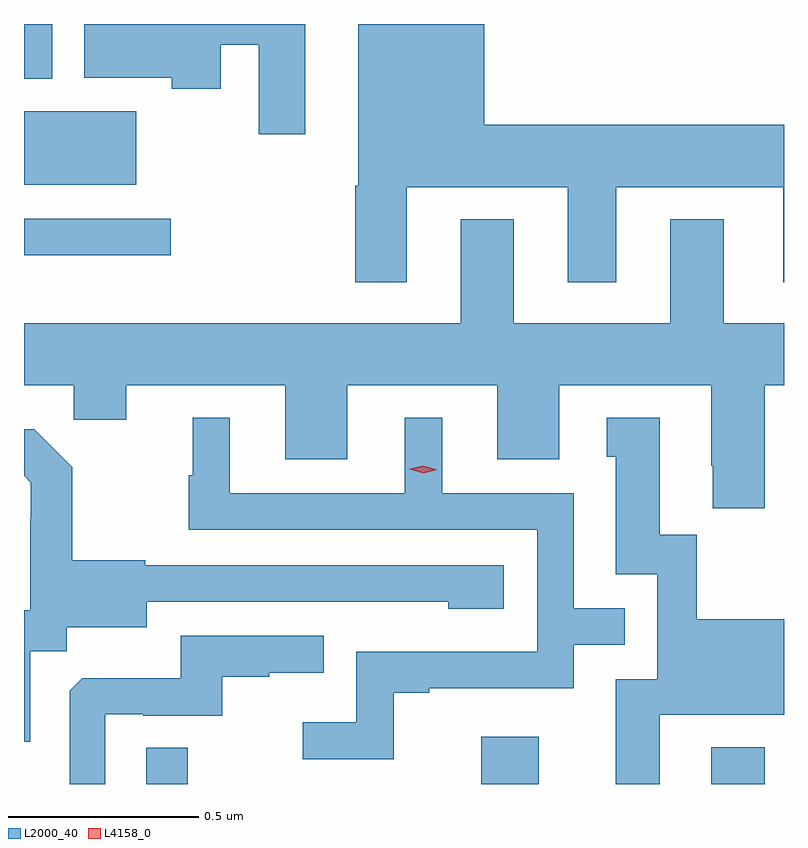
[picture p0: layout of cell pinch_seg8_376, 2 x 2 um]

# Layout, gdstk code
import gdstk
lib = gdstk.Library(unit=1e-6, precision=1e-09)
def R(c, l, rs):  # rectangles x0, y0, x1, y1
    for r in rs: c.add(gdstk.rectangle(r[:2], r[2:], *l))
def P(c, l, *ps):  # polygons
    for p in ps: c.add(gdstk.Polygon(p, *l))
L2000_40 = (2000, 40)
L4158_0 = (4158, 0)

pinch_seg8_376 = lib.new_cell('pinch_seg8_376')
R(pinch_seg8_376, L2000_40, [(388.842,1115.451,388.951,1115.546), (389.723,1115.451,389.875,1115.575), (390.329,1115.451,390.469,1115.548), (388.52,1116.842,388.906,1116.939), (388.52,1117.307,388.594,1117.451)])
P(pinch_seg8_376, L2000_40, [(389.26,1117.451),(388.679,1117.451),(388.679,1117.31),(388.909,1117.31),(388.909,1117.28),(389.038,1117.28),(389.038,1117.397),(389.138,1117.397),(389.138,1117.161),(389.26,1117.161)],
  [(389.527,1117.022),(389.951,1117.022),(389.951,1116.771),(390.079,1116.771),(390.079,1117.022),(390.518,1117.022),(390.518,1116.771),(390.52,1116.771),(390.52,1117.186),(389.731,1117.186),(389.731,1117.451),(389.399,1117.451),(389.399,1117.026),(389.392,1117.026),(389.392,1116.771),(389.527,1116.771)],
  [(388.816,1117.222),(388.59,1117.222),(388.59,1117.221),(388.52,1117.221),(388.52,1117.028),(388.816,1117.028)],
  [(390.469,1116.5),(390.52,1116.5),(390.52,1116.664),(390.361,1116.664),(390.361,1116.937),(390.221,1116.937),(390.221,1116.664),(389.809,1116.664),(389.809,1116.937),(389.669,1116.937),(389.669,1116.664),(388.52,1116.664),(388.52,1116.5),(388.651,1116.5),(388.651,1116.41),(388.789,1116.41),(388.789,1116.5),(389.207,1116.5),(389.207,1116.306),(389.371,1116.306),(389.371,1116.5),(389.765,1116.5),(389.765,1116.306),(389.929,1116.306),(389.929,1116.5),(390.329,1116.5),(390.329,1116.289),(390.332,1116.289),(390.332,1116.177),(390.469,1116.177)],
  [(389.493,1115.691),(389.587,1115.691),(389.587,1115.703),(389.967,1115.703),(389.967,1115.817),(390.101,1115.817),(390.101,1115.913),(389.967,1115.913),(389.967,1116.216),(389.62,1116.216),(389.62,1116.415),(389.522,1116.415),(389.522,1116.216),(389.062,1116.216),(389.062,1116.415),(388.964,1116.415),(388.964,1116.264),(388.953,1116.264),(388.953,1116.12),(389.871,1116.12),(389.871,1115.799),(389.394,1115.799),(389.394,1115.614),(389.253,1115.614),(389.253,1115.516),(389.493,1115.516)],
  [(390.193,1115.633),(390.52,1115.633),(390.52,1115.884),(390.291,1115.884),(390.291,1116.107),(390.193,1116.107),(390.193,1116.415),(390.053,1116.415),(390.053,1116.312),(390.077,1116.312),(390.077,1116.003),(390.186,1116.003),(390.186,1115.727),(390.077,1115.727),(390.077,1115.451),(390.193,1115.451)],
  [(388.537,1115.8),(388.632,1115.8),(388.632,1115.864),(388.843,1115.864),(388.843,1115.931),(389.401,1115.931),(389.401,1115.93),(389.637,1115.93),(389.637,1115.912),(389.782,1115.912),(389.782,1116.027),(388.839,1116.027),(388.839,1116.04),(388.647,1116.04),(388.647,1116.285),(388.547,1116.385),(388.52,1116.385),(388.52,1116.262),(388.538,1116.244),(388.538,1116.149),(388.536,1116.149),(388.536,1115.908),(388.52,1115.908),(388.52,1115.562),(388.537,1115.562)],
  [(388.734,1115.634),(388.834,1115.634),(388.834,1115.631),(389.042,1115.631),(389.042,1115.733),(389.165,1115.733),(389.165,1115.744),(389.309,1115.744),(389.309,1115.841),(388.932,1115.841),(388.932,1115.729),(388.673,1115.729),(388.641,1115.697),(388.641,1115.451),(388.734,1115.451)])
P(pinch_seg8_376, L4158_0, [(389.571,1116.269),(389.535,1116.279),(389.535,1116.279),(389.535,1116.28),(389.571,1116.289),(389.607,1116.278),(389.607,1116.278),(389.607,1116.278)])

lib.write_gds('pinch_seg8_376.gds')
